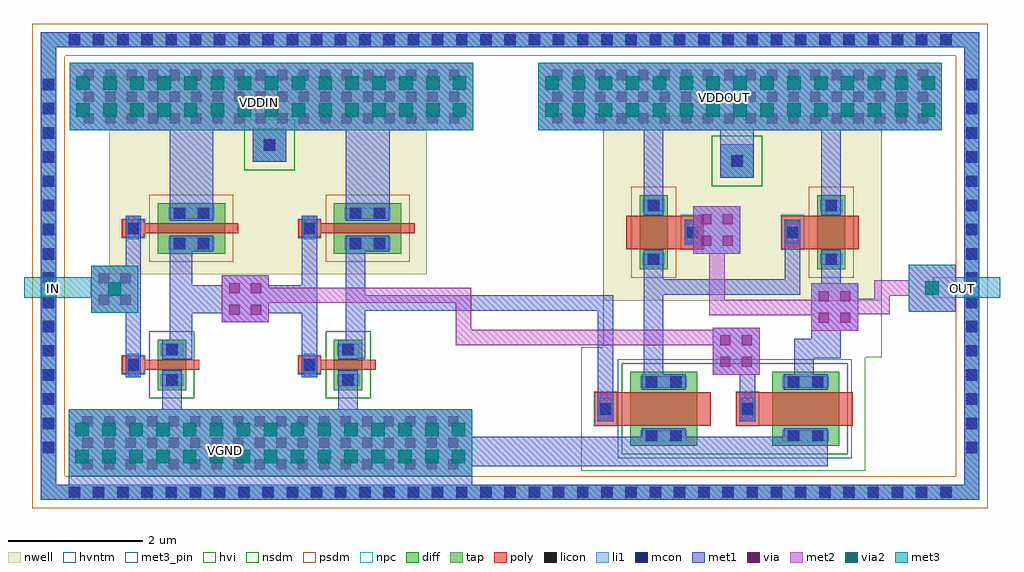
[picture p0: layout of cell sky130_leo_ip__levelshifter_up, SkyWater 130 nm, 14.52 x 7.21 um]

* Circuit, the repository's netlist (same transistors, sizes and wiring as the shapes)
** sch_path: /home/leo/Projects/IPs/sky130_leo_ip__levelshifter/xschem/sky130_leo_ip__levelshifter_up.sch
.subckt sky130_leo_ip__levelshifter_up VDDOUT VDDIN OUT IN VGND
*.PININFO IN:I VGND:B VDDIN:B OUT:I VDDOUT:B
XM1 ctrl_n IN VGND VGND sky130_fd_pr__nfet_01v8 L=0.15 W=0.42 nf=1 m=1
XM2 ctrl_n IN VDDIN VDDIN sky130_fd_pr__pfet_01v8 L=0.15 W=1 nf=1 m=1
XM3 ctrl ctrl_n VGND VGND sky130_fd_pr__nfet_01v8 L=0.15 W=0.42 nf=1 m=1
XM4 ctrl ctrl_n VDDIN VDDIN sky130_fd_pr__pfet_01v8 L=0.15 W=1 nf=1 m=1
XM5 OUT p1 VDDOUT VDDOUT sky130_fd_pr__pfet_g5v0d10v5 L=0.5 W=0.42 nf=1 m=1
XM6 p1 ctrl VGND VGND sky130_fd_pr__nfet_g5v0d10v5 L=0.5 W=1 nf=1 m=1
XM7 p1 OUT VDDOUT VDDOUT sky130_fd_pr__pfet_g5v0d10v5 L=0.5 W=0.42 nf=1 m=1
XM8 OUT ctrl_n VGND VGND sky130_fd_pr__nfet_g5v0d10v5 L=0.5 W=1 nf=1 m=1
.ends
.end

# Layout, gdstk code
from math import pi, radians
import gdstk
lib = gdstk.Library(unit=1e-6, precision=1e-09)
def R(c, l, rs):  # rectangles x0, y0, x1, y1
    for r in rs: c.add(gdstk.rectangle(r[:2], r[2:], *l))
def A(c, l, x, y, w, h, nx, ny, dx, dy):  # array of equal rectangles
    R(c, l, [(x+i*dx, y+j*dy, x+i*dx+w, y+j*dy+h) for i in range(nx) for j in range(ny)])
def P(c, l, *ps):  # polygons
    for p in ps: c.add(gdstk.Polygon(p, *l))
nwell = (64, 20)
diff = (65, 20)
tap = (65, 44)
poly = (66, 20)
licon = (66, 44)
li1 = (67, 20)
mcon = (67, 44)
met1 = (68, 20)
via = (68, 44)
met2 = (69, 20)
via2 = (69, 44)
met3_pin = (70, 16)
met3 = (70, 20)
hvi = (75, 20)
nsdm = (93, 44)
psdm = (94, 20)
npc = (95, 20)
hvntm = (125, 20)

nfet_2 = lib.new_cell('nfet$2')
R(nfet_2, diff, [(0,0,0.75,0.42)])
R(nfet_2, poly, [(0.3,-0.2,0.45,0.62), (0.24,0.62,0.51,0.95)])
R(nfet_2, licon, [(0.065,0.125,0.235,0.295), (0.515,0.125,0.685,0.295), (0.29,0.7,0.46,0.87)])
R(nfet_2, li1, [(0.065,0.045,0.235,0.375), (0.515,0.045,0.685,0.375), (0.21,0.7,0.54,0.87)])
R(nfet_2, mcon, [(0.065,0.125,0.235,0.295), (0.515,0.125,0.685,0.295), (0.29,0.7,0.46,0.87)])
R(nfet_2, met1, [(0.005,0.065,0.295,0.355), (0.455,0.065,0.745,0.355), (0.19,0.67,0.56,0.9)])
R(nfet_2, nsdm, [(-0.125,-0.125,0.875,0.545)])
R(nfet_2, npc, [(0.23,0.61,0.52,0.96)])

pfet_6 = lib.new_cell('pfet$6')
R(pfet_6, nwell, [(-0.465,-0.88,1.565,0.96)])
R(pfet_6, diff, [(0,0,1.1,0.42)])
R(pfet_6, poly, [(0.3,-0.53,0.8,-0.2), (0.3,-0.2,0.8,0.62)])
R(pfet_6, licon, [(0.465,-0.45,0.635,-0.28), (0.065,0.125,0.235,0.295), (0.865,0.125,1.035,0.295)])
R(pfet_6, li1, [(0.385,-0.45,0.715,-0.28), (0.065,0.045,0.235,0.375), (0.865,0.045,1.035,0.375)])
R(pfet_6, mcon, [(0.465,-0.45,0.635,-0.28), (0.065,0.125,0.235,0.295), (0.865,0.125,1.035,0.295)])
R(pfet_6, met1, [(0.365,-0.48,0.735,-0.25), (0.005,0.065,0.295,0.355), (0.805,0.065,1.095,0.355)])
R(pfet_6, hvi, [(-0.465,-0.88,1.565,0.96)])
R(pfet_6, psdm, [(-0.125,-0.125,1.225,0.545)])
R(pfet_6, npc, [(0.29,-0.54,0.81,-0.19)])

nfet = lib.new_cell('nfet')
R(nfet, diff, [(0,0,1.1,1)])
R(nfet, poly, [(0.3,-0.2,0.8,1.2), (0.3,1.2,0.8,1.53)])
R(nfet, licon, [(0.065,0.235,0.235,0.405), (0.865,0.235,1.035,0.405), (0.065,0.595,0.235,0.765), (0.865,0.595,1.035,0.765), (0.465,1.28,0.635,1.45)])
R(nfet, li1, [(0.065,0.155,0.235,0.845), (0.865,0.155,1.035,0.845), (0.385,1.28,0.715,1.45)])
R(nfet, mcon, [(0.065,0.235,0.235,0.405), (0.865,0.235,1.035,0.405), (0.065,0.595,0.235,0.765), (0.865,0.595,1.035,0.765), (0.465,1.28,0.635,1.45)])
R(nfet, met1, [(0.035,0.175,0.265,0.825), (0.835,0.175,1.065,0.825), (0.365,1.25,0.735,1.48)])
R(nfet, hvi, [(-0.37,-0.385,1.47,1.725)])
R(nfet, nsdm, [(-0.125,-0.125,1.225,1.125)])
R(nfet, npc, [(0.29,1.19,0.81,1.54)])
R(nfet, hvntm, [(-0.185,-0.185,1.285,1.185)])

guard_ring_gen = lib.new_cell('guard_ring_gen')
P(guard_ring_gen, tap, [(-0.23,-0.23),(-0.23,6.5),(0,6.5),(0,0),(13.5,0),(13.5,6.5),(-0.23,6.5),(-0.23,6.73),(13.73,6.73),(13.73,-0.23)])
A(guard_ring_gen, licon, 0.185, -0.2, 0.17, 0.17, 37, 2, 0.36, 6.73)
A(guard_ring_gen, licon, -0.2, 0.465, 0.17, 0.17, 1, 16, 0, 0.36)
A(guard_ring_gen, licon, 13.53, 0.465, 0.17, 0.17, 1, 16, 0, 0.36)
P(guard_ring_gen, li1, [(-0.23,-0.23),(-0.23,6.5),(0,6.5),(0,0),(13.5,0),(13.5,6.5),(-0.23,6.5),(-0.23,6.73),(13.73,6.73),(13.73,-0.23)])
A(guard_ring_gen, mcon, 0.185, -0.2, 0.17, 0.17, 37, 2, 0.36, 6.73)
A(guard_ring_gen, mcon, -0.2, 0.465, 0.17, 0.17, 1, 16, 0, 0.36)
A(guard_ring_gen, mcon, 13.53, 0.465, 0.17, 0.17, 1, 16, 0, 0.36)
P(guard_ring_gen, met1, [(-0.23,-0.23),(-0.23,6.5),(0,6.5),(0,0),(13.5,0),(13.5,6.5),(-0.23,6.5),(-0.23,6.73),(13.73,6.73),(13.73,-0.23)])
P(guard_ring_gen, psdm, [(-0.355,-0.355),(-0.355,6.375),(0.125,6.375),(0.125,0.125),(13.375,0.125),(13.375,6.375),(-0.355,6.375),(-0.355,6.855),(13.855,6.855),(13.855,-0.355)])

pfet = lib.new_cell('pfet')
R(pfet, nwell, [(-0.465,-0.54,1.565,1.3)])
R(pfet, diff, [(0,0,1.1,0.42)])
R(pfet, poly, [(0.3,-0.2,0.8,0.62), (0.3,0.62,0.8,0.95)])
R(pfet, licon, [(0.065,0.125,0.235,0.295), (0.865,0.125,1.035,0.295), (0.465,0.7,0.635,0.87)])
R(pfet, li1, [(0.065,0.045,0.235,0.375), (0.865,0.045,1.035,0.375), (0.385,0.7,0.715,0.87)])
R(pfet, mcon, [(0.065,0.125,0.235,0.295), (0.865,0.125,1.035,0.295), (0.465,0.7,0.635,0.87)])
R(pfet, met1, [(0.005,0.065,0.295,0.355), (0.805,0.065,1.095,0.355), (0.365,0.67,0.735,0.9)])
R(pfet, hvi, [(-0.465,-0.54,1.565,1.3)])
R(pfet, psdm, [(-0.125,-0.125,1.225,0.545)])
R(pfet, npc, [(0.29,0.61,0.81,0.96)])

vias_gen = lib.new_cell('vias_gen')
R(vias_gen, met1, [(0,0,0.7,0.7)])
R(vias_gen, via, [(0.115,0.115,0.265,0.265), (0.435,0.115,0.585,0.265), (0.115,0.435,0.265,0.585), (0.435,0.435,0.585,0.585)])
R(vias_gen, met2, [(0,0,0.7,0.7)])
R(vias_gen, via2, [(0.25,0.25,0.45,0.45)])
R(vias_gen, met3, [(0,0,0.7,0.7)])

pfet_4 = lib.new_cell('pfet$4')
R(pfet_4, nwell, [(-0.305,-0.38,1.055,1.72)])
R(pfet_4, diff, [(0,0,0.75,1)])
R(pfet_4, poly, [(0.3,-0.2,0.45,1.2), (0.24,1.2,0.51,1.53)])
R(pfet_4, licon, [(0.065,0.235,0.235,0.405), (0.515,0.235,0.685,0.405), (0.065,0.595,0.235,0.765), (0.515,0.595,0.685,0.765), (0.29,1.28,0.46,1.45)])
R(pfet_4, li1, [(0.065,0.155,0.235,0.845), (0.515,0.155,0.685,0.845), (0.21,1.28,0.54,1.45)])
R(pfet_4, mcon, [(0.065,0.235,0.235,0.405), (0.515,0.235,0.685,0.405), (0.065,0.595,0.235,0.765), (0.515,0.595,0.685,0.765), (0.29,1.28,0.46,1.45)])
R(pfet_4, met1, [(0.035,0.175,0.265,0.825), (0.485,0.175,0.715,0.825), (0.19,1.25,0.56,1.48)])
R(pfet_4, psdm, [(-0.125,-0.125,0.875,1.125)])
R(pfet_4, npc, [(0.23,1.19,0.52,1.54)])

vias_gen_2 = lib.new_cell('vias_gen$2')
R(vias_gen_2, met1, [(0,0,6,1)])
A(vias_gen_2, via, 0.205, 0.105, 0.15, 0.15, 18, 3, 0.32, 0.32)
R(vias_gen_2, met2, [(0,0,6,1)])
A(vias_gen_2, via2, 0.1, 0.2, 0.2, 0.2, 15, 2, 0.4, 0.4)
R(vias_gen_2, met3, [(0,0,6,1)])

vias_gen_3 = lib.new_cell('vias_gen$3')
R(vias_gen_3, met1, [(0,0,0.7,0.7)])
R(vias_gen_3, via, [(0.115,0.115,0.265,0.265), (0.435,0.115,0.585,0.265), (0.115,0.435,0.265,0.585), (0.435,0.435,0.585,0.585)])
R(vias_gen_3, met2, [(0,0,0.7,0.7)])

vias_gen_5 = lib.new_cell('vias_gen$5')
R(vias_gen_5, met2, [(0,0,0.7,0.7)])
R(vias_gen_5, via2, [(0.25,0.25,0.45,0.45)])
R(vias_gen_5, met3, [(0,0,0.7,0.7)])

pfet_5 = lib.new_cell('pfet$5')
R(pfet_5, nwell, [(-0.305,-0.38,1.055,1.72)])
R(pfet_5, diff, [(0,0,0.75,1)])
R(pfet_5, poly, [(0.3,-0.2,0.45,1.2), (0.24,1.2,0.51,1.53)])
R(pfet_5, licon, [(0.065,0.235,0.235,0.405), (0.515,0.235,0.685,0.405), (0.065,0.595,0.235,0.765), (0.515,0.595,0.685,0.765), (0.29,1.28,0.46,1.45)])
R(pfet_5, li1, [(0.065,0.155,0.235,0.845), (0.515,0.155,0.685,0.845), (0.21,1.28,0.54,1.45)])
R(pfet_5, mcon, [(0.065,0.235,0.235,0.405), (0.515,0.235,0.685,0.405), (0.065,0.595,0.235,0.765), (0.515,0.595,0.685,0.765), (0.29,1.28,0.46,1.45)])
R(pfet_5, met1, [(0.035,0.175,0.265,0.825), (0.485,0.175,0.715,0.825), (0.19,1.25,0.56,1.48)])
R(pfet_5, psdm, [(-0.125,-0.125,0.875,1.125)])
R(pfet_5, npc, [(0.23,1.19,0.52,1.54)])

vias_gen_7 = lib.new_cell('vias_gen$7')
R(vias_gen_7, nwell, [(-0.18,-0.18,0.68,0.68)])
R(vias_gen_7, tap, [(0,0,0.5,0.5)])
R(vias_gen_7, licon, [(0.165,0.165,0.335,0.335)])
R(vias_gen_7, li1, [(0,0,0.5,0.5)])
R(vias_gen_7, mcon, [(0.165,0.165,0.335,0.335)])
R(vias_gen_7, met1, [(0,0,0.5,0.5)])
R(vias_gen_7, nsdm, [(-0.125,-0.125,0.625,0.625)])

sky130_leo_ip__levelshif = lib.new_cell('sky130_leo_ip__levelshifter_up')
R(sky130_leo_ip__levelshif, nwell, [(10.125,3.09,10.98,5.51), (1.145,3.485,5.865,6.415), (8.49,5.04,12.63,5.51), (8.49,5.51,12.63,5.84)])
R(sky130_leo_ip__levelshif, met1, [(0.54,0.31,6.54,0.475), (6.105,0.63,11.825,1.065), (4.55,1.32,4.84,1.835), (1.93,1.34,2.22,1.785), (10.52,1.665,10.75,2.16), (9.095,1.88,9.385,3.635), (2.04,2.22,2.375,3.88), (4.66,2.225,4.95,3.895), (1.385,2.32,1.615,3.98), (4.005,2.32,4.235,3.98), (11.58,2.485,11.805,2.685), (2.3,2.905,4.07,3.315), (4.66,4.455,5.315,6.025), (2.04,4.48,2.69,5.925), (9.095,4.55,9.385,6.165), (11.735,4.555,12.02,6.23), (10.23,5.39,10.73,5.685)])
P(sky130_leo_ip__levelshif, met1, [(8.41,1.47),(8.41,2.94),(4.875,2.94),(4.875,3.17),(8.64,3.17),(8.64,1.47)],
  [(9.25,3.175),(9.25,3.405),(11.19,3.405),(11.19,4.08),(11.42,4.08),(11.42,3.175)],
  [(11.33,1.9),(11.33,2.52),(11.735,2.52),(11.735,3.82),(12.025,3.82),(12.025,2.23),(11.62,2.23),(11.62,1.9)])
P(sky130_leo_ip__levelshif, met2, [(6.295,2.43),(6.295,3.055),(3.43,3.055),(3.43,3.285),(6.525,3.285),(6.525,2.66),(10.305,2.66),(10.305,2.43)],
  [(10.065,2.87),(10.065,4.14),(10.295,4.14),(10.295,3.1),(11.935,3.1),(11.935,2.87)],
  [(11.94,2.885),(11.94,3.115),(12.52,3.115),(12.52,3.395),(13.47,3.395),(13.47,3.165),(12.75,3.165),(12.75,2.885)])
R(sky130_leo_ip__levelshif, met3_pin, [(0.54,0.475,6.54,1.475), (-0.125,3.135,0.875,3.435), (13.39,3.135,14.39,3.435), (0.555,5.625,6.555,6.625), (7.525,5.625,13.525,6.625)])
R(sky130_leo_ip__levelshif, met3, [(-0.125,3.135,0.875,3.435), (13.39,3.135,14.39,3.435)])
R(sky130_leo_ip__levelshif, hvi, [(8.49,2.245,12.63,5.51), (8.49,5.51,12.63,5.84)])
R(sky130_leo_ip__levelshif, nsdm, [(9.91,0.805,10.96,2.155)])
R(sky130_leo_ip__levelshif, hvntm, [(9.865,0.745,10.975,2.215)])
sky130_leo_ip__levelshif.add(gdstk.Reference(nfet_2, (2.285,1.76), rotation=pi/2))
sky130_leo_ip__levelshif.add(gdstk.Reference(nfet_2, (4.905,1.76), rotation=pi/2))
sky130_leo_ip__levelshif.add(gdstk.Reference(pfet_6, (9.45,3.555), rotation=pi/2))
sky130_leo_ip__levelshif.add(gdstk.Reference(nfet, (12,0.93), rotation=pi/2))
sky130_leo_ip__levelshif.add(gdstk.Reference(nfet, (9.89,0.93), rotation=pi/2))
sky130_leo_ip__levelshif.add(gdstk.Reference(guard_ring_gen, (0.355,0.355)))
sky130_leo_ip__levelshif.add(gdstk.Reference(pfet, (12.09,3.555), rotation=pi/2))
sky130_leo_ip__levelshif.add(gdstk.Reference(vias_gen, (0.875,2.91)))
sky130_leo_ip__levelshif.add(gdstk.Reference(pfet_4, (2.865,3.79), rotation=pi/2))
sky130_leo_ip__levelshif.add(gdstk.Reference(vias_gen_2, (0.555,5.625)))
sky130_leo_ip__levelshif.add(gdstk.Reference(vias_gen_2, (7.525,5.625)))
sky130_leo_ip__levelshif.add(gdstk.Reference(vias_gen_2, (0.54,0.475)))
sky130_leo_ip__levelshif.add(gdstk.Reference(vias_gen_3, (2.815,2.765)))
sky130_leo_ip__levelshif.add(gdstk.Reference(vias_gen_3, (10.115,1.99)))
sky130_leo_ip__levelshif.add(gdstk.Reference(vias_gen_3, (9.83,3.79)))
sky130_leo_ip__levelshif.add(gdstk.Reference(vias_gen_3, (11.58,2.645)))
sky130_leo_ip__levelshif.add(gdstk.Reference(vias_gen_5, (13.03,2.925)))
sky130_leo_ip__levelshif.add(gdstk.Reference(pfet_5, (5.485,3.79), rotation=pi/2))
sky130_leo_ip__levelshif.add(gdstk.Reference(vias_gen_7, (3.275,5.155)))
sky130_leo_ip__levelshif.add(gdstk.Reference(vias_gen_7, (10.23,4.915)))
sky130_leo_ip__levelshif.add(gdstk.Label('VGND', (2.865,0.855), layer=70, texttype=5))
sky130_leo_ip__levelshif.add(gdstk.Label('IN', (0.31,3.265), layer=70, texttype=5))
sky130_leo_ip__levelshif.add(gdstk.Label('OUT', (13.825,3.265), layer=70, texttype=5))
sky130_leo_ip__levelshif.add(gdstk.Label('VDDIN', (3.375,6.03), layer=70, texttype=5))
sky130_leo_ip__levelshif.add(gdstk.Label('VDDOUT', (10.29,6.115), layer=70, texttype=5))

lib.write_gds('sky130_leo_ip__levelshifter_up.gds')
